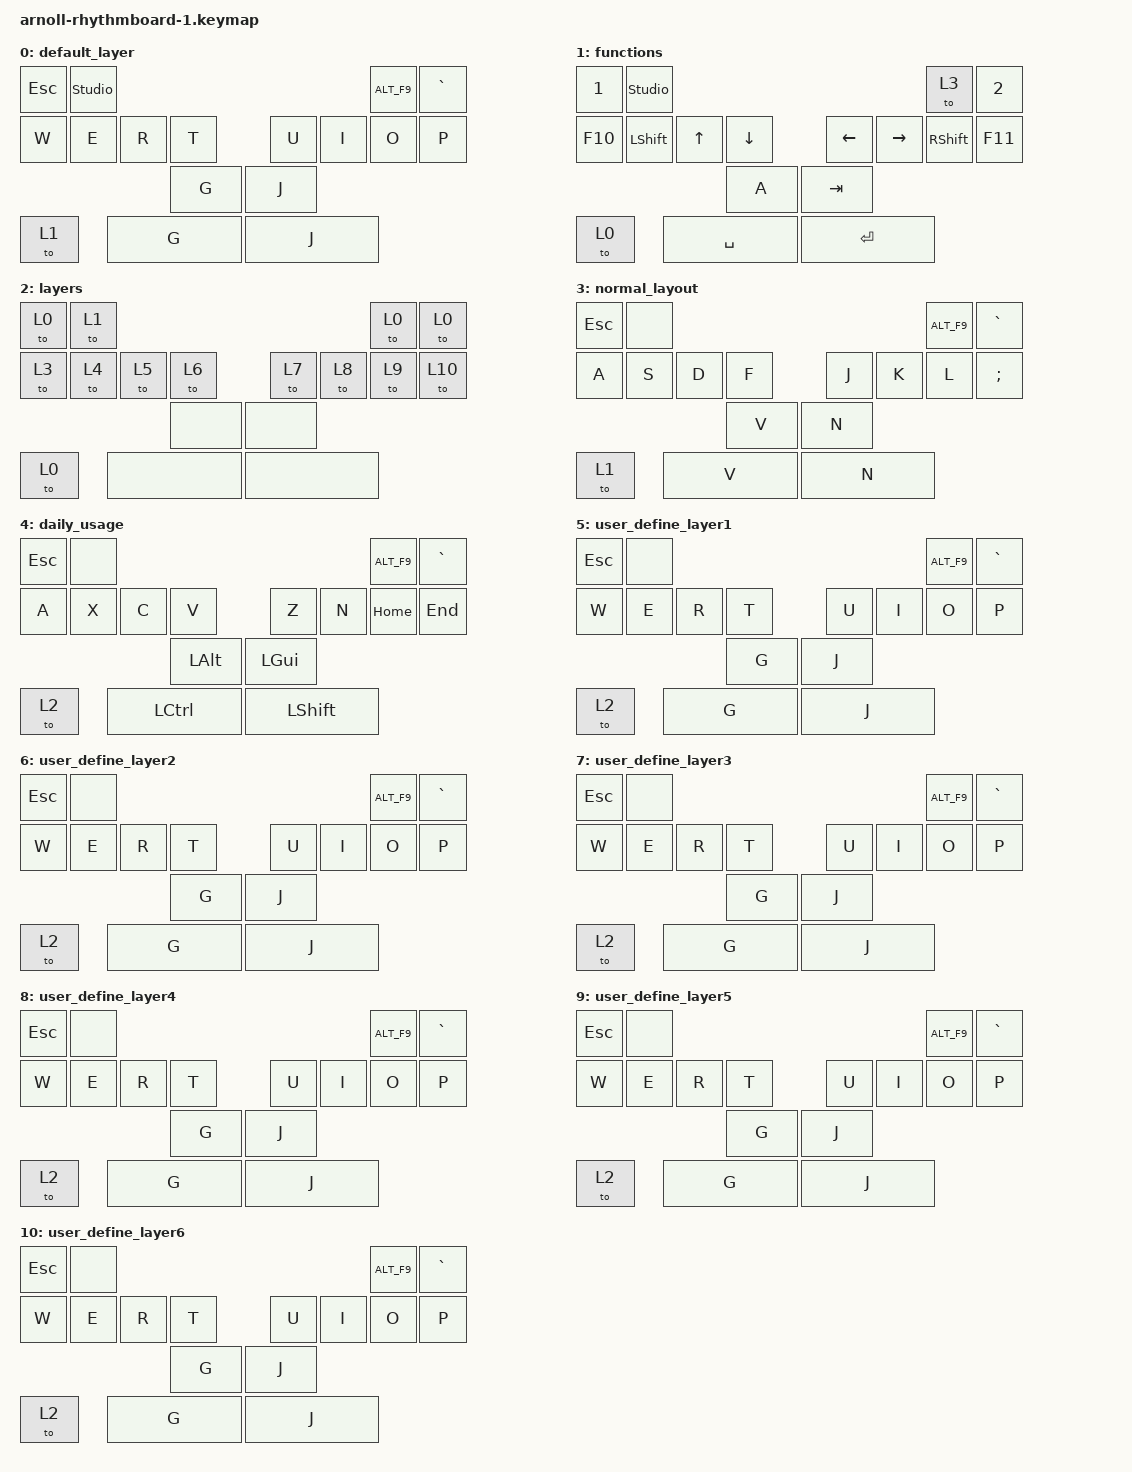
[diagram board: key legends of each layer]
#include <behaviors.dtsi>
#include <dt-bindings/zmk/keys.h>
#include <dt-bindings/zmk/bt.h>
#include <dt-bindings/zmk/outputs.h> // for OUT_TOG

&kscan0 {
    debounce-press-ms = <1>;
    debounce-release-ms = <1>;
};

/ {
    macros {  // https://v0-3-branch.zmk.dev/docs/keymaps/behaviors/macros
        ALT_F9: ALT_F9 {
            compatible = "zmk,behavior-macro";
            #binding-cells = <0>;
            bindings = <&macro_press &kp LEFT_ALT>
                , <&macro_tap &kp F9>
                , <&macro_release &kp LEFT_ALT> ;
        };
    };

    keymap {
        compatible = "zmk,keymap";

        default_layer { // Layer 0
            bindings = <
                &kp ESC &studio_unlock                &ALT_F9 &kp GRAVE
                &kp W   &kp E &kp R &kp T &kp U &kp I &kp O   &kp P
                &to 1       &kp G &kp G &kp J &kp J
            >;
        };

        functions { // Layer 1
            bindings = <
                &kp NUMBER_1 &studio_unlock                           &to 3      &kp NUMBER_2
                &kp F10 &kp LSHIFT &kp UP &kp DOWN &kp LEFT &kp RIGHT &kp RSHIFT &kp F11
                &to 0           &kp SPACE &kp A    &kp TAB  &kp ENTER
            >;
        };

        layers { // Layer 2
            bindings = <
                &to 0 &to 1                         &to 0 &to 0
                &to 3 &to 4 &to 5 &to 6 &to 7 &to 8 &to 9 &to 10
                &to 0       &none &none &none &none 
            >;
        };
        
        normal_layout { // Layer 3
            bindings = <
                &kp ESC &none                         &ALT_F9 &kp GRAVE
                &kp A   &kp S &kp D &kp F &kp J &kp K &kp L   &kp SEMICOLON
                &to 1       &kp V &kp V &kp N &kp N
            >;
        };

        daily_usage { // Layer 4
            bindings = <
                &kp ESC &none                         &ALT_F9 &kp GRAVE
                &kp A   &kp X &kp C &kp V &kp Z &kp N &kp HOME &kp END
                &to 2  &kp LCTRL &kp LALT &kp LGUI &kp LSHIFT
            >;
        };

        user_define_layer1 { // Layer 5
            bindings = <
                &kp ESC &none                         &ALT_F9 &kp GRAVE
                &kp W   &kp E &kp R &kp T &kp U &kp I &kp O   &kp P
                &to 2         &kp G &kp G &kp J &kp J
            >;
        };

        user_define_layer2 { // Layer 6
            bindings = <
                &kp ESC &none                         &ALT_F9 &kp GRAVE
                &kp W   &kp E &kp R &kp T &kp U &kp I &kp O   &kp P
                &to 2         &kp G &kp G &kp J &kp J
            >;
        };

        user_define_layer3 { // Layer 7
            bindings = <
                &kp ESC &none                         &ALT_F9 &kp GRAVE
                &kp W   &kp E &kp R &kp T &kp U &kp I &kp O   &kp P
                &to 2         &kp G &kp G &kp J &kp J
            >;
        };

        user_define_layer4 { // Layer 8
            bindings = <
                &kp ESC &none                         &ALT_F9 &kp GRAVE
                &kp W   &kp E &kp R &kp T &kp U &kp I &kp O   &kp P
                &to 2         &kp G &kp G &kp J &kp J
            >;
        };

        user_define_layer5 { // Layer 9
            bindings = <
                &kp ESC &none                         &ALT_F9 &kp GRAVE
                &kp W   &kp E &kp R &kp T &kp U &kp I &kp O   &kp P
                &to 2         &kp G &kp G &kp J &kp J
            >;
        };

        user_define_layer6 { // Layer 10
            bindings = <
                &kp ESC &none                         &ALT_F9 &kp GRAVE
                &kp W   &kp E &kp R &kp T &kp U &kp I &kp O   &kp P
                &to 2         &kp G &kp G &kp J &kp J
            >;
        };
    };
};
